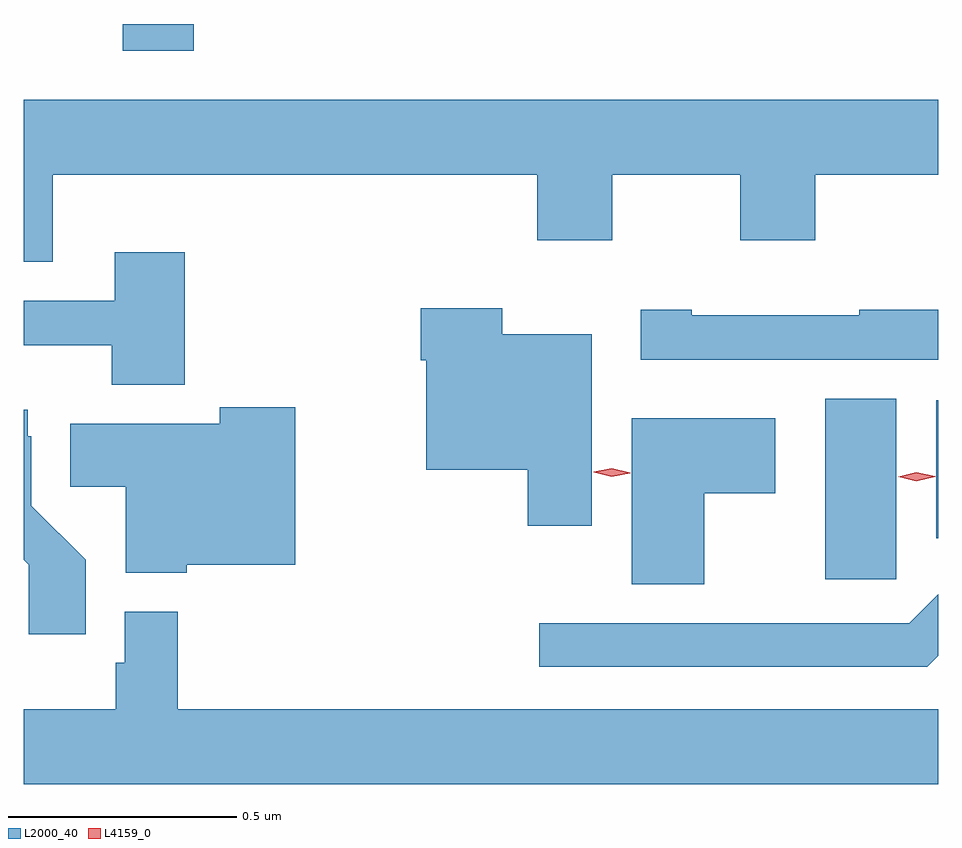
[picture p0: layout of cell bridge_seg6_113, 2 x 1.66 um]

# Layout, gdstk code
import gdstk
lib = gdstk.Library(unit=1e-6, precision=1e-09)
def R(c, l, rs):  # rectangles x0, y0, x1, y1
    for r in rs: c.add(gdstk.rectangle(r[:2], r[2:], *l))
def P(c, l, *ps):  # polygons
    for p in ps: c.add(gdstk.Polygon(p, *l))
L2000_40 = (2000, 40)
L4159_0 = (4159, 0)

bridge_seg6_113 = lib.new_cell('bridge_seg6_113')
R(bridge_seg6_113, L2000_40, [(462.365,993.072,462.52,993.467), (462.608,993.161,462.612,993.463), (460.829,994.227,460.984,994.286)])
P(bridge_seg6_113, L2000_40, [(460.675,993.956),(461.735,993.956),(461.735,993.813),(461.899,993.813),(461.899,993.956),(462.179,993.956),(462.179,993.813),(462.343,993.813),(462.343,993.956),(462.612,993.956),(462.612,994.12),(460.612,994.12),(460.612,993.766),(460.675,993.766)],
  [(460.964,993.787),(460.811,993.787),(460.811,993.681),(460.612,993.681),(460.612,993.584),(460.804,993.584),(460.804,993.497),(460.964,993.497)],
  [(461.854,993.607),(461.658,993.607),(461.658,993.664),(461.48,993.664),(461.48,993.551),(461.492,993.551),(461.492,993.311),(461.714,993.311),(461.714,993.189),(461.854,993.189)],
  [(462.612,993.661),(462.439,993.661),(462.439,993.649),(462.073,993.649),(462.073,993.661),(461.961,993.661),(461.961,993.552),(462.612,993.552)],
  [(460.968,993.104),(461.206,993.104),(461.206,993.448),(461.041,993.448),(461.041,993.412),(460.714,993.412),(460.714,993.274),(460.835,993.274),(460.835,993.086),(460.968,993.086)],
  [(460.748,993.114),(460.629,993.233),(460.629,993.384),(460.621,993.384),(460.621,993.442),(460.612,993.442),(460.612,993.114),(460.623,993.103),(460.623,992.952),(460.748,992.952)],
  [(462.1,993.26),(462.256,993.26),(462.256,993.424),(461.942,993.424),(461.942,993.061),(462.1,993.061)],
  [(462.612,992.904),(462.612,993.039),(462.549,992.976),(461.739,992.976),(461.739,992.88),(462.588,992.88)],
  [(462.612,992.788),(460.949,992.788),(460.949,993.001),(460.833,993.001),(460.833,992.889),(460.813,992.889),(460.813,992.788),(460.612,992.788),(460.612,992.624),(462.612,992.624)])
P(bridge_seg6_113, L4159_0, [(462.564,993.286),(462.524,993.296),(462.524,993.296),(462.524,993.296),(462.564,993.306),(462.605,993.297),(462.605,993.297),(462.605,993.296)],
  [(461.898,993.296),(461.859,993.306),(461.859,993.307),(461.859,993.307),(461.898,993.315),(461.938,993.305),(461.938,993.304),(461.938,993.304)])

lib.write_gds('bridge_seg6_113.gds')
